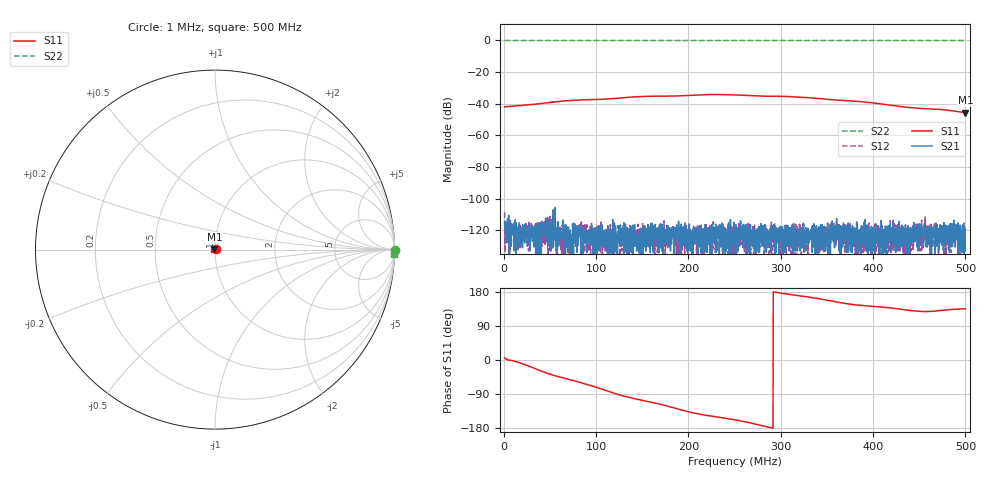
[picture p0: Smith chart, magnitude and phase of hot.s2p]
! MS46122B
! 1746301/73750021
! 11/3/2023 2:18:06 PM
! C:\USERS\SPEGWAL\DOWNLOADS\SAURABH\REACH\NODES\FRONT END\MEASUREMENTS\MEASURED S-PARAMETERS_03-11-2023\MS3-MS4_MS1_CABLE\THERMAL_SOURCE_S11.S2P
! CHANNEL.1
! TR.MEASUREMENT
! CORRECTED.DATA
# GHZ S RI R 50.0
! FREQ.GHZ  S11RE  S11IM  S21RE  S21IM  S12RE  S12IM  S22RE  S22IM
!; PortSelection: Port_12
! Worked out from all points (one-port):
!   2001 points, 1 MHz to 500 MHz, reference 50 ohm
!   lowest |S11| = -45.6 dB at 500 MHz (marker M1), VSWR 1.01, Z = 49.6 + j0.367 ohm
!   |S11| at or under -10 dB: start of sweep to end of sweep
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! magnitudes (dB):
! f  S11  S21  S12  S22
! 1 MHz  -42.0  -114.4  -108.6  0.0
! 34.18 MHz  -40.3  -130.0  -116.6  0.0
! 64.62 MHz  -38.2  -121.9  -117.7  0.0
! 84.33 MHz  -37.6  -123.0  -119.3  0.0
! 110.3 MHz  -37.1  -119.8  -125.4  0.0
! 147.2 MHz  -35.5  -133.0  -121.7  0.0
! 167.4 MHz  -35.2  -124.7  -126.0  0.0
! 189.4 MHz  -35.0  -114.2  -121.9  0.0
! 225.1 MHz  -34.1  -  -123.9  0.0
! 237.3 MHz  -34.2  -121.7  -140.0  0.0
! 250.5 MHz  -34.4  -118.4  -124.0  0.0
! 277.9 MHz  -35.1  -117.7  -123.9  0.0
! 306.4 MHz  -35.4  -116.6  -120.1  0.0
! 320.9 MHz  -35.8  -127.0  -118.3  0.0
! 333.8 MHz  -36.3  -128.0  -127.7  0.0
! 356.8 MHz  -37.5  -124.9  -126.0  0.0
! 388.2 MHz  -38.7  -124.7  -118.2  0.0
! 416.9 MHz  -40.7  -122.8  -121.3  0.0
! 438.9 MHz  -42.3  -125.9  -120.5  0.0
! 452.1 MHz  -43.0  -119.0  -127.7  0.0
! 473.1 MHz  -43.6  -127.7  -117.0  0.0
! 500 MHz  -45.6  -133.0  -126.0  0.0
